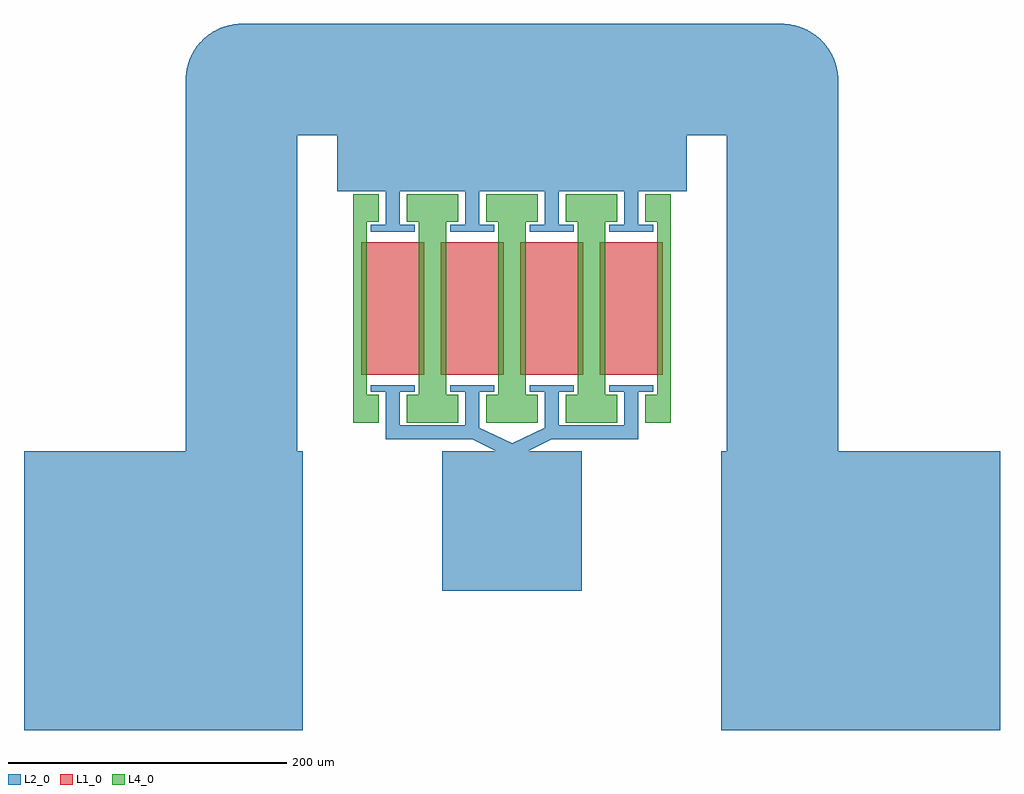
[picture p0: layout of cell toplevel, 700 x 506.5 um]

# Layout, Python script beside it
from tools import *
from devices import *

from phidl import quickplot as qp

# from phidl import export_gds

import pandas as pd


# d=addProbe(array(addVia(FBERes,'top'),4),addLargeGnd(GSGProbe))(name="DEF")

d=addProbe(array(calibration(FBERes,'open'),4),addLargeGnd(GSGProbe))(name="DEF")
base_params=d.export_params()



base_params["IDTPitch"]=7
base_params["IDTN"]=2
base_params["IDTOffset"]=1
base_params["IDTLength"]=100
base_params["IDTCoverage"]=0.5
base_params["BusSizeY"]=5
base_params["EtchPitX"]=10
base_params["IDTActiveAreaMargin"]=1
base_params["AnchorSizeY"]=20
base_params["AnchorSizeX"]=20
base_params["AnchorXOffset"]=0
base_params["AnchorMetalizedX"]=10
base_params["AnchorMetalizedY"]=24
base_params["ViaSize"]=10
base_params["Overvia"]=2
base_params["ViaAreaY"]=30
base_params["ViaAreaX"]= lambda : 3*d.idt.n*d.idt.pitch
d.import_params(base_params)

print(d)

import pathlib

d.draw().write_gds(str(pathlib.Path(__file__).stem))

# d.draw().write_gds("test.gds")

# check_cell(verniers())
# check_cell(alignment_marks_4layers())
# check_cell(resistivity_test_cell())
# check_cell(chip_frame())
# print(d.resistance())
# p=PArraySeries(d)
# v=check_cell(verniers([0.25,0.5,1 ]))
# p.x_param=[\
# SweepParam({'IDTN_fingers':[5,10,15,20]}),\
# SweepParam({'IDTLength':[20,40,60]})]
# SweepParam({'ViaSize':[10,20,50]})]

# p.view()
# rpq=1

# print(d.resistance(res_per_square=rpq))
